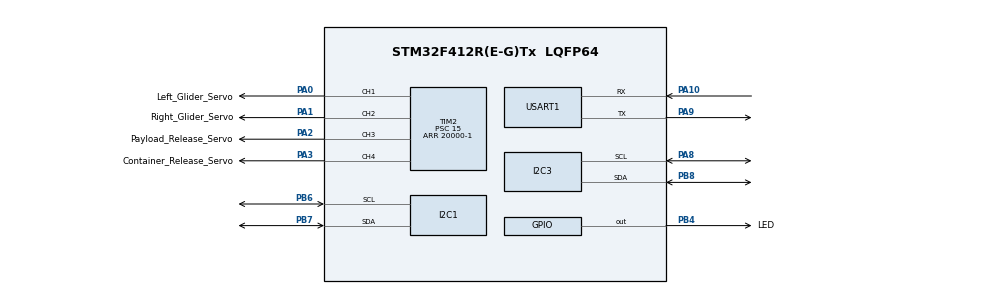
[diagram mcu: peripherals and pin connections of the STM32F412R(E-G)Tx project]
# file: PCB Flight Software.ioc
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Mcu.Family=STM32F4
Mcu.Name=STM32F412R(E-G)Tx
Mcu.Package=LQFP64
NVIC.PriorityGroup=NVIC_PRIORITYGROUP_4
NVIC.TIM3_IRQn=true\:0\:0\:false\:false\:true\:true\:true\:true
PA0.GPIO_Label=Left_Glider_Servo
PA0.Signal=S_TIM2_CH1_ETR
PA1.GPIO_Label=Right_Glider_Servo
PA1.Signal=S_TIM2_CH2
PA10.Mode=Asynchronous
PA10.Signal=USART1_RX
PA13.Mode=Trace_Asynchronous_SW
PA13.Signal=SYS_JTMS-SWDIO
PA14.Mode=Trace_Asynchronous_SW
PA14.Signal=SYS_JTCK-SWCLK
PA2.GPIO_Label=Payload_Release_Servo
PA2.Signal=S_TIM2_CH3
PA3.GPIO_Label=Container_Release_Servo
PA3.Signal=S_TIM2_CH4
PA8.Mode=I2C
PA8.Signal=I2C3_SCL
PA9.Mode=Asynchronous
PA9.Signal=USART1_TX
PB3.Mode=Trace_Asynchronous_SW
PB3.Signal=SYS_JTDO-SWO
PB4.GPIO_Label=LED
PB4.Signal=GPIO_Output
PB6.Mode=I2C
PB6.Signal=I2C1_SCL
PB7.Mode=I2C
PB7.Signal=I2C1_SDA
PB8.Mode=I2C
PB8.Signal=I2C3_SDA
ProjectManager.HeapSize=0x200
ProjectManager.StackSize=0x400
ProjectManager.TargetToolchain=STM32CubeIDE
RCC.CortexFreq_Value=16000000
RCC.USBFreq_Value=96000000
RCC.VCOOutputFreq_Value=192000000
SH.S_TIM2_CH1_ETR.0=TIM2_CH1,PWM Generation1 CH1
SH.S_TIM2_CH2.0=TIM2_CH2,PWM Generation2 CH2
SH.S_TIM2_CH3.0=TIM2_CH3,PWM Generation3 CH3
SH.S_TIM2_CH4.0=TIM2_CH4,PWM Generation4 CH4
TIM2.AutoReloadPreload=TIM_AUTORELOAD_PRELOAD_ENABLE
TIM2.Channel-PWM\ Generation1\ CH1=TIM_CHANNEL_1
TIM2.Channel-PWM\ Generation2\ CH2=TIM_CHANNEL_2
TIM2.Channel-PWM\ Generation3\ CH3=TIM_CHANNEL_3
TIM2.Channel-PWM\ Generation4\ CH4=TIM_CHANNEL_4
TIM2.Period=20000-1
TIM2.Prescaler=15
TIM3.AutoReloadPreload=TIM_AUTORELOAD_PRELOAD_ENABLE
TIM3.Period=999
TIM3.Prescaler=16000-1
USART1.VirtualMode=VM_ASYNC
VP_TIM2_VS_ClockSourceINT.Mode=Internal
VP_TIM3_VS_ClockSourceINT.Mode=Internal
board=custom

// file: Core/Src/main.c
/* USER CODE BEGIN Header */
/**
  ******************************************************************************
  * @file           : main.c
  * @brief          : Main program body
  ******************************************************************************
  * @attention
  *
  * Copyright (c) 2026 STMicroelectronics.
  * All rights reserved.
  *
  * This software is licensed under terms that can be found in the LICENSE file
  * in the root directory of this software component.
  * If no LICENSE file comes with this software, it is provided AS-IS.
  *
  ******************************************************************************
  */
/* USER CODE END Header */
#include "main.h"

/* USER CODE BEGIN Includes */
#include <stdint.h>
#include <stdarg.h>
#include <stdio.h>
#include <stdlib.h>
#include <string.h>
#include <math.h>
#include "flight_fsm.h"
#include "servos.h"
#include "gps.h"
#include "imu.h"
#include "baro.h"
#include "current.h"
#include "telemetry.h"
#include "xbee.h"
#include "commands.h"
#include "paraglider.h"
#include "complementary_filter.h"
#include "madgwick.h"
/* USER CODE END Includes */

I2C_HandleTypeDef hi2c1;
I2C_HandleTypeDef hi2c3;

TIM_HandleTypeDef htim2;
TIM_HandleTypeDef htim3;

UART_HandleTypeDef huart1;

/* USER CODE BEGIN PV */
/* For FSM debugging */
volatile float             g_fsm_altitude_m     = 0.0f;
volatile int32_t           g_fsm_state          = 0;
volatile float             g_fsm_apogee_m       = 0.0f;
volatile float             g_fsm_vz_mps         = 0.0f;

Telemetry_t telemetry;

uint8_t packet_ready = 0;
volatile uint8_t command_ready = 0;
char command_buffer[RX_BFR_SIZE-1];
/* USER CODE END PV */

void SystemClock_Config(void);
static void MX_GPIO_Init(void);
static void MX_I2C1_Init(void);
static void MX_USART1_UART_Init(void);
static void MX_TIM2_Init(void);
static void MX_I2C3_Init(void);
static void MX_TIM3_Init(void);

/* USER CODE BEGIN 0 */

// Microsecond resolution time
void DWT_Init(void)
{
    CoreDebug->DEMCR |= CoreDebug_DEMCR_TRCENA_Msk; // Enable DWT
    DWT->CYCCNT = 0;
    DWT->CTRL |= DWT_CTRL_CYCCNTENA_Msk;            // Start counter
}

uint32_t micros(void)
{
    return DWT->CYCCNT / (SystemCoreClock / 1000000);
}

//Set up Interrupt handler to invoke data transmit from xbee to the board.
void USART1_IRQHandler(void) {
	HAL_UART_IRQHandler(&huart1);
}

uint8_t temp = 0;
// Function called every second
void HAL_TIM_PeriodElapsedCallback(TIM_HandleTypeDef *htim)
{
    if (htim->Instance == TIM3)
    {
    	// 1 Hz Interrupt
        packet_ready = 1;

        // Handle Mission Time
        telemetry.mission_time_sec++;
        if (telemetry.mission_time_sec >= 60){
        	telemetry.mission_time_sec -= 60;
        	telemetry.mission_time_min += 1;
        }
        if (telemetry.mission_time_min >= 60){
        	telemetry.mission_time_min -= 60;
        	telemetry.mission_time_hr += 1;
        }
        if (telemetry.mission_time_hr >= 24){
        	telemetry.mission_time_hr -= 24;
        }
    }

    HAL_GPIO_TogglePin(LED_GPIO_Port, LED_Pin);

    // Alternate steering for drop testing. Should be removed for real flight
//    if (telemetry.container_released){ //TODO: remove this
//    	if (temp == 0) {
//			set_paraglider_steering(170);
//		}
//		else if (temp == 3) {
//			set_paraglider_steering(0);
//		}
//		else if (temp == 6) {
//			set_paraglider_steering(-170);
//		}
//		else if (temp == 9){
//			set_paraglider_steering(0);
//		}
//
//		if (temp < 11) {
//			temp++;
//		}
//		else {
//			temp = 0;
//		}
//    }
}

HAL_StatusTypeDef result;
uint8_t drop_detection_active = 0;
/* USER CODE END 0 */

int main(void)
{

  /* MCU Configuration--------------------------------------------------------*/

  /* Reset of all peripherals, Initializes the Flash interface and the Systick. */
  HAL_Init();

  /* Configure the system clock */
  SystemClock_Config();

  /* Initialize all configured peripherals */
  MX_GPIO_Init();
  MX_I2C1_Init();
  MX_USART1_UART_Init();
  MX_TIM2_Init();
  MX_I2C3_Init();
  MX_TIM3_Init();
  /* USER CODE BEGIN 2 */
  DWT_Init();

  HAL_Delay(500);

  init_xbee(&huart1, USART1_IRQn);

  init_baro(&hi2c1);
  init_gps(&hi2c1, &telemetry);
  init_imu(&hi2c1);
  init_current(&hi2c1);
  init_telemetry(&telemetry);

  HAL_Delay(100);

  init_fsm(&telemetry);
  Init_Servos(&telemetry);
  set_paraglider_steering(0);

  HAL_Delay(10);

  read_imu(&hi2c1, &telemetry);
  Madgwick_Init(&telemetry, 0.1f);

  // Start 1 Hz interrupt
  HAL_TIM_Base_Start_IT(&htim3);

  /* USER CODE END 2 */

  /* Infinite loop */
  /* USER CODE BEGIN WHILE */
  while (1)
  {
	  // Read sensors
	  read_gps(&hi2c1, &telemetry);
	  read_imu(&hi2c1, &telemetry);
	  read_current(&hi2c1, &telemetry);
	  if (telemetry.mode == 'F'){
		  read_baro(&hi2c1, &telemetry);
//		  telemetry.max_altitude = fmaxf(telemetry.max_altitude, telemetry.altitude);
		  telemetry.max_altitude = fmaxf(telemetry.max_altitude, telemetry.alt_fused);
	  }

	  // Filter
	  Madgwick_Update(&telemetry);
	  complementary_filter(&telemetry);

	  // Updated FSM
	  update_fsm(&telemetry);

	  // Drop detection for drop testing. Remove for real flight
//	  if (drop_detection_active == 1 && telemetry.velocity_world_z < -1 && telemetry.accel_world_z < -3){
//		  Eject_Paraglider();
//		  telemetry.container_released = 1;
//		  telemetry.paraglider_ejected = 1;
//		  telemetry.paraglider_active = 1;
//		  extern uint32_t probe_release_time;
//		  probe_release_time = HAL_GetTick();
//		  drop_detection_active = 0;
//		  strcpy(telemetry.state, "PROBE_RELEASE");
//		  HAL_Delay(1500);
//	  }

	  // Perform Paraglider control alg if it's on
	  if (telemetry.paraglider_active){
		  control_paraglider(&telemetry);
//		  set_paraglider_steering(-180);
//		  set_paraglider_steering(0);
	  } else {
		  // Inactive position
		  set_paraglider_steering(0);
	  }

	  if (command_ready == 1){
		  handle_command(command_buffer);
		  command_ready = 0;
	  }

	  // Send data at 1 Hz
	  if (packet_ready == 1 && telemetry.telemetry_status == 1){
		  send_packet(&huart1, &telemetry);
		  packet_ready = 0;
	  }

    /* USER CODE END WHILE */

    /* USER CODE BEGIN 3 */
    /* small delay so we aren't hammering I2C too hard */
//	HAL_Delay(1);
  }
  /* USER CODE END 3 */
}

void SystemClock_Config(void)
{
  RCC_OscInitTypeDef RCC_OscInitStruct = {0};
  RCC_ClkInitTypeDef RCC_ClkInitStruct = {0};

  /** Configure the main internal regulator output voltage
  */
  __HAL_RCC_PWR_CLK_ENABLE();
  __HAL_PWR_VOLTAGESCALING_CONFIG(PWR_REGULATOR_VOLTAGE_SCALE1);

  /** Initializes the RCC Oscillators according to the specified parameters
  * in the RCC_OscInitTypeDef structure.
  */
  RCC_OscInitStruct.OscillatorType = RCC_OSCILLATORTYPE_HSI;
  RCC_OscInitStruct.HSIState = RCC_HSI_ON;
  RCC_OscInitStruct.HSICalibrationValue = RCC_HSICALIBRATION_DEFAULT;
  RCC_OscInitStruct.PLL.PLLState = RCC_PLL_NONE;
  if (HAL_RCC_OscConfig(&RCC_OscInitStruct) != HAL_OK)
  {
    Error_Handler();
  }

  /** Initializes the CPU, AHB and APB buses clocks
  */
  RCC_ClkInitStruct.ClockType = RCC_CLOCKTYPE_HCLK|RCC_CLOCKTYPE_SYSCLK
                              |RCC_CLOCKTYPE_PCLK1|RCC_CLOCKTYPE_PCLK2;
  RCC_ClkInitStruct.SYSCLKSource = RCC_SYSCLKSOURCE_HSI;
  RCC_ClkInitStruct.AHBCLKDivider = RCC_SYSCLK_DIV1;
  RCC_ClkInitStruct.APB1CLKDivider = RCC_HCLK_DIV1;
  RCC_ClkInitStruct.APB2CLKDivider = RCC_HCLK_DIV1;

  if (HAL_RCC_ClockConfig(&RCC_ClkInitStruct, FLASH_LATENCY_0) != HAL_OK)
  {
    Error_Handler();
  }
}

static void MX_I2C1_Init(void)
{

  hi2c1.Instance = I2C1;
  hi2c1.Init.ClockSpeed = 100000;
  hi2c1.Init.DutyCycle = I2C_DUTYCYCLE_2;
  hi2c1.Init.OwnAddress1 = 0;
  hi2c1.Init.AddressingMode = I2C_ADDRESSINGMODE_7BIT;
  hi2c1.Init.DualAddressMode = I2C_DUALADDRESS_DISABLE;
  hi2c1.Init.OwnAddress2 = 0;
  hi2c1.Init.GeneralCallMode = I2C_GENERALCALL_DISABLE;
  hi2c1.Init.NoStretchMode = I2C_NOSTRETCH_DISABLE;
  if (HAL_I2C_Init(&hi2c1) != HAL_OK)
  {
    Error_Handler();
  }

}

static void MX_I2C3_Init(void)
{

  hi2c3.Instance = I2C3;
  hi2c3.Init.ClockSpeed = 100000;
  hi2c3.Init.DutyCycle = I2C_DUTYCYCLE_2;
  hi2c3.Init.OwnAddress1 = 0;
  hi2c3.Init.AddressingMode = I2C_ADDRESSINGMODE_7BIT;
  hi2c3.Init.DualAddressMode = I2C_DUALADDRESS_DISABLE;
  hi2c3.Init.OwnAddress2 = 0;
  hi2c3.Init.GeneralCallMode = I2C_GENERALCALL_DISABLE;
  hi2c3.Init.NoStretchMode = I2C_NOSTRETCH_DISABLE;
  if (HAL_I2C_Init(&hi2c3) != HAL_OK)
  {
    Error_Handler();
  }

}

static void MX_TIM2_Init(void)
{

  TIM_ClockConfigTypeDef sClockSourceConfig = {0};
  TIM_MasterConfigTypeDef sMasterConfig = {0};
  TIM_OC_InitTypeDef sConfigOC = {0};

  htim2.Instance = TIM2;
  htim2.Init.Prescaler = 15;
  htim2.Init.CounterMode = TIM_COUNTERMODE_UP;
  htim2.Init.Period = 20000-1;
  htim2.Init.ClockDivision = TIM_CLOCKDIVISION_DIV1;
  htim2.Init.AutoReloadPreload = TIM_AUTORELOAD_PRELOAD_ENABLE;
  if (HAL_TIM_Base_Init(&htim2) != HAL_OK)
  {
    Error_Handler();
  }
  sClockSourceConfig.ClockSource = TIM_CLOCKSOURCE_INTERNAL;
  if (HAL_TIM_ConfigClockSource(&htim2, &sClockSourceConfig) != HAL_OK)
  {
    Error_Handler();
  }
  if (HAL_TIM_PWM_Init(&htim2) != HAL_OK)
  {
    Error_Handler();
  }
  sMasterConfig.MasterOutputTrigger = TIM_TRGO_RESET;
  sMasterConfig.MasterSlaveMode = TIM_MASTERSLAVEMODE_DISABLE;
  if (HAL_TIMEx_MasterConfigSynchronization(&htim2, &sMasterConfig) != HAL_OK)
  {
    Error_Handler();
  }
  sConfigOC.OCMode = TIM_OCMODE_PWM1;
  sConfigOC.Pulse = 0;
  sConfigOC.OCPolarity = TIM_OCPOLARITY_HIGH;
  sConfigOC.OCFastMode = TIM_OCFAST_DISABLE;
  if (HAL_TIM_PWM_ConfigChannel(&htim2, &sConfigOC, TIM_CHANNEL_1) != HAL_OK)
  {
    Error_Handler();
  }
  if (HAL_TIM_PWM_ConfigChannel(&htim2, &sConfigOC, TIM_CHANNEL_2) != HAL_OK)
  {
    Error_Handler();
  }
  if (HAL_TIM_PWM_ConfigChannel(&htim2, &sConfigOC, TIM_CHANNEL_3) != HAL_OK)
  {
    Error_Handler();
  }
  if (HAL_TIM_PWM_ConfigChannel(&htim2, &sConfigOC, TIM_CHANNEL_4) != HAL_OK)
  {
    Error_Handler();
  }
  HAL_TIM_MspPostInit(&htim2);

}

static void MX_TIM3_Init(void)
{

  TIM_ClockConfigTypeDef sClockSourceConfig = {0};
  TIM_MasterConfigTypeDef sMasterConfig = {0};

  htim3.Instance = TIM3;
  htim3.Init.Prescaler = 16000-1;
  htim3.Init.CounterMode = TIM_COUNTERMODE_UP;
  htim3.Init.Period = 999;
  htim3.Init.ClockDivision = TIM_CLOCKDIVISION_DIV1;
  htim3.Init.AutoReloadPreload = TIM_AUTORELOAD_PRELOAD_ENABLE;
  if (HAL_TIM_Base_Init(&htim3) != HAL_OK)
  {
    Error_Handler();
  }
  sClockSourceConfig.ClockSource = TIM_CLOCKSOURCE_INTERNAL;
  if (HAL_TIM_ConfigClockSource(&htim3, &sClockSourceConfig) != HAL_OK)
  {
    Error_Handler();
  }
  sMasterConfig.MasterOutputTrigger = TIM_TRGO_RESET;
  sMasterConfig.MasterSlaveMode = TIM_MASTERSLAVEMODE_DISABLE;
  if (HAL_TIMEx_MasterConfigSynchronization(&htim3, &sMasterConfig) != HAL_OK)
  {
    Error_Handler();
  }

}

static void MX_USART1_UART_Init(void)
{

  huart1.Instance = USART1;
  huart1.Init.BaudRate = 115200;
  huart1.Init.WordLength = UART_WORDLENGTH_8B;
  huart1.Init.StopBits = UART_STOPBITS_1;
  huart1.Init.Parity = UART_PARITY_NONE;
  huart1.Init.Mode = UART_MODE_TX_RX;
  huart1.Init.HwFlowCtl = UART_HWCONTROL_NONE;
  huart1.Init.OverSampling = UART_OVERSAMPLING_16;
  if (HAL_UART_Init(&huart1) != HAL_OK)
  {
    Error_Handler();
  }

}

static void MX_GPIO_Init(void)
{
  GPIO_InitTypeDef GPIO_InitStruct = {0};

  /* GPIO Ports Clock Enable */
  __HAL_RCC_GPIOA_CLK_ENABLE();
  __HAL_RCC_GPIOB_CLK_ENABLE();

  /*Configure GPIO pin Output Level */
  HAL_GPIO_WritePin(LED_GPIO_Port, LED_Pin, GPIO_PIN_RESET);

  /*Configure GPIO pin : LED_Pin */
  GPIO_InitStruct.Pin = LED_Pin;
  GPIO_InitStruct.Mode = GPIO_MODE_OUTPUT_PP;
  GPIO_InitStruct.Pull = GPIO_NOPULL;
  GPIO_InitStruct.Speed = GPIO_SPEED_FREQ_LOW;
  HAL_GPIO_Init(LED_GPIO_Port, &GPIO_InitStruct);

}

void Error_Handler(void)
{
  __disable_irq();
  while (1)
  {
  }
}
